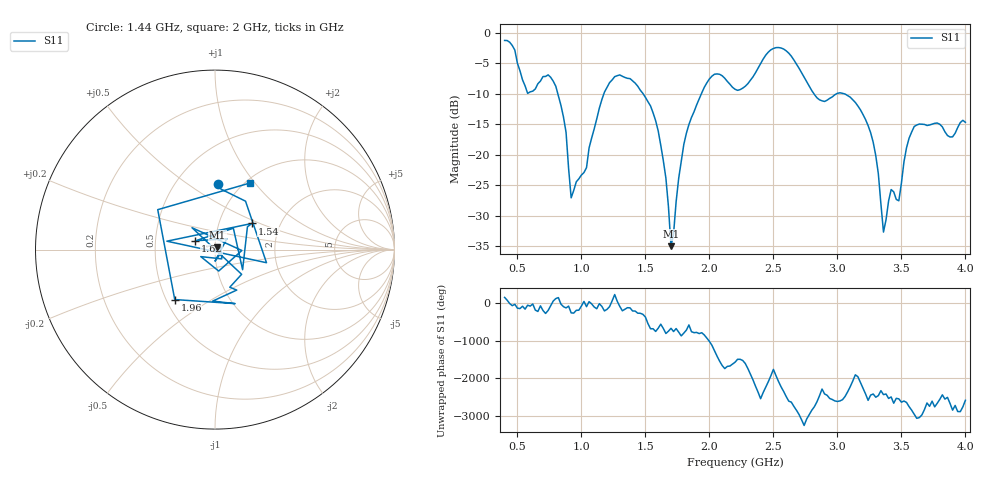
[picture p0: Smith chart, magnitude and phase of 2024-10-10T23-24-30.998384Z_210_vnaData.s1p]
! Created with skrf (http://scikit-rf.org).
# Hz S RI R 50.0
!freq ReS11 ImS11
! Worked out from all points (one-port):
!   181 points, 400 MHz to 4 GHz, reference 50 ohm
!   lowest |S11| = -35.0 dB at 1.7 GHz (marker M1), VSWR 1.04, Z = 51.2 + j1.33 ohm
!   |S11| at or under -10 dB: 815.5 MHz to 1.175 GHz (360 MHz wide, 36.2 % of centre); 1.482 GHz to 1.937 GHz (454.9 MHz wide, 26.6 % of centre); 3.054 GHz to end of sweep (the widest 3 of 4)
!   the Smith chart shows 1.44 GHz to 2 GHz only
!   S11 on the Smith chart (normalised r, x): 1.44 GHz: 0.79, +0.66; 1.54 GHz: 1.43, +0.45; 1.62 GHz: 0.80, +0.08; 1.96 GHz: 0.55, -0.35; 2 GHz: 1.05, +0.94
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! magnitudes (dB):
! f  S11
! 400 MHz  -1.2
! 580 MHz  -9.9
! 760 MHz  -7.3
! 860 MHz  -13.8
! 920 MHz  -27.1
! 1.04 GHz  -22.1
! 1.18 GHz  -9.7
! 1.3 GHz  -6.9
! 1.44 GHz  -8.7
! 1.54 GHz  -12.0
! 1.62 GHz  -18.4
! 1.66 GHz  -23.8
! 1.7 GHz  -35.0
! 1.76 GHz  -23.9
! 1.82 GHz  -16.5
! 1.96 GHz  -8.9
! 2 GHz  -7.6
! 2.2 GHz  -9.2
! 2.5 GHz  -2.6
! 2.66 GHz  -4.4
! 2.86 GHz  -11.0
! 3.1 GHz  -10.5
! 3.28 GHz  -18.0
! 3.36 GHz  -32.7
! 3.42 GHz  -25.7
! 3.48 GHz  -27.6
! 3.56 GHz  -17.3
! 4 GHz  -14.7
